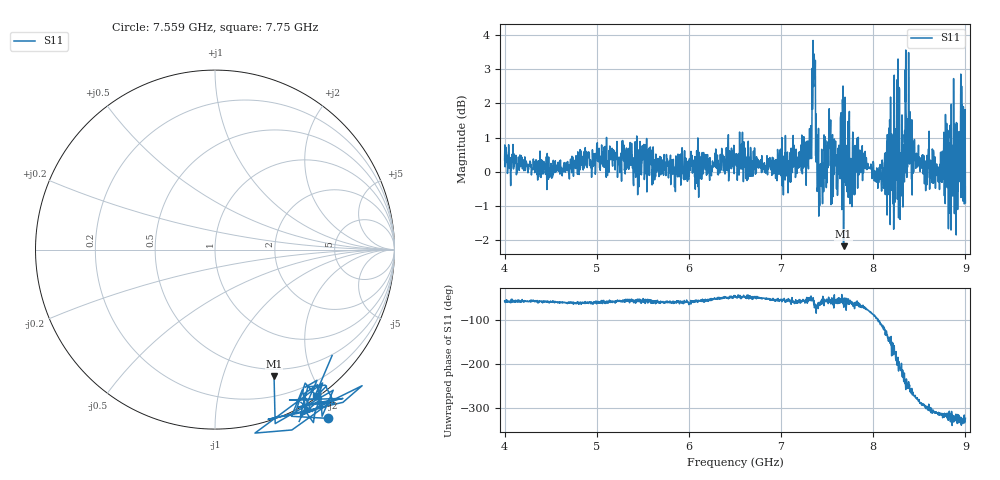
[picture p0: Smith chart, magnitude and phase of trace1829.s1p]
! Created with skrf 1.8.0 (http://scikit-rf.org).
# Hz S RI R 50.0
!freq ReS11 ImS11
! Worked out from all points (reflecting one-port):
!   1601 points, 4 GHz to 9 GHz, reference 50 ohm
!   lowest |S11| = -2.2 dB at 7.678 GHz (marker M1), VSWR 8.00, Z = 20.9 - j74.4 ohm
!   phase of S11 starts at -57 deg and turns -266 deg over the sweep
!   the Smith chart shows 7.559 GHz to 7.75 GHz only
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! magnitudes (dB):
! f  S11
! 4 GHz  0.3
! 4.625 GHz  -0.1
! 5.25 GHz  0.0
! 5.875 GHz  -0.1
! 6.5 GHz  0.3
! 7.125 GHz  0.6
! 7.294 GHz  0.3
! 7.359 GHz  3.4
! 7.412 GHz  -0.1
! 7.512 GHz  0.9
! 7.616 GHz  -0.2
! 7.65 GHz  1.7
! 7.678 GHz  -2.2
! 7.75 GHz  -0.1
! 7.862 GHz  0.1
! 8.091 GHz  -0.6
! 8.162 GHz  0.4
! 8.228 GHz  2.8
! 8.262 GHz  -0.8
! 8.312 GHz  1.7
! 8.334 GHz  0.5
! 8.375 GHz  1.0
! 8.419 GHz  1.5
! 8.566 GHz  0.1
! 8.788 GHz  -0.3
! 8.841 GHz  1.3
! 8.956 GHz  -0.4
! 9 GHz  -0.9
